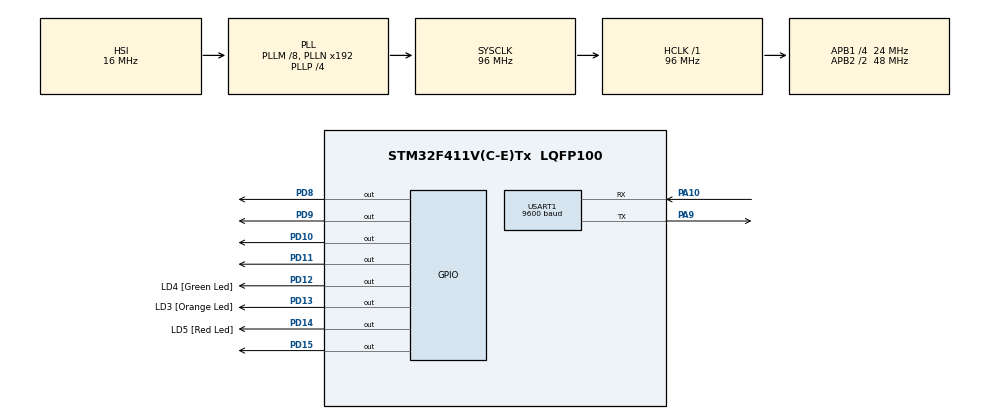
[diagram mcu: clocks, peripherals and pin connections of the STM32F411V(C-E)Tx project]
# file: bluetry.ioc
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Mcu.Family=STM32F4
Mcu.Name=STM32F411V(C-E)Tx
Mcu.Package=LQFP100
NVIC.PriorityGroup=NVIC_PRIORITYGROUP_0
NVIC.USART1_IRQn=true\:0\:0\:false\:false\:true\:true\:true\:true
PA10.Mode=Asynchronous
PA10.Signal=USART1_RX
PA9.Mode=Asynchronous
PA9.Signal=USART1_TX
PD10.Signal=GPIO_Output
PD11.Signal=GPIO_Output
PD12.GPIO_Label=LD4 [Green Led]
PD12.GPIO_PuPd=GPIO_NOPULL
PD12.GPIO_Speed=GPIO_SPEED_FREQ_LOW
PD12.Signal=GPIO_Output
PD13.GPIO_Label=LD3 [Orange Led]
PD13.GPIO_PuPd=GPIO_NOPULL
PD13.GPIO_Speed=GPIO_SPEED_FREQ_LOW
PD13.Signal=GPIO_Output
PD14.GPIO_Label=LD5 [Red Led]
PD14.GPIO_PuPd=GPIO_NOPULL
PD14.GPIO_Speed=GPIO_SPEED_FREQ_LOW
PD14.Signal=GPIO_Output
PD15.Signal=GPIO_Output
PD8.Signal=GPIO_Output
PD9.Signal=GPIO_Output
PH0\ -\ OSC_IN.Mode=HSE-External-Oscillator
PH0\ -\ OSC_IN.Signal=RCC_OSC_IN
PH1\ -\ OSC_OUT.Mode=HSE-External-Oscillator
PH1\ -\ OSC_OUT.Signal=RCC_OSC_OUT
ProjectManager.HeapSize=0x200
ProjectManager.StackSize=0x400
ProjectManager.TargetToolchain=STM32CubeIDE
RCC.48MHZClocksFreq_Value=48000000
RCC.AHBFreq_Value=96000000
RCC.APB1CLKDivider=RCC_HCLK_DIV4
RCC.APB1Freq_Value=24000000
RCC.APB1TimFreq_Value=48000000
RCC.APB2CLKDivider=RCC_HCLK_DIV2
RCC.APB2Freq_Value=48000000
RCC.APB2TimFreq_Value=96000000
RCC.CortexFreq_Value=96000000
RCC.HCLKFreq_Value=96000000
RCC.HSE_VALUE=8000000
RCC.HSI_VALUE=16000000
RCC.LSE_VALUE=32768
RCC.PLLI2SM=5
RCC.PLLI2SN=200
RCC.PLLM=8
RCC.PLLP=RCC_PLLP_DIV4
RCC.PLLQ=8
RCC.SYSCLKFreq_VALUE=96000000
RCC.SYSCLKSource=RCC_SYSCLKSOURCE_PLLCLK
RCC.VCOOutputFreq_Value=384000000
USART1.BaudRate=9600
USART1.VirtualMode=VM_ASYNC
board=STM32F411E-DISCO

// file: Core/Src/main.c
/* USER CODE BEGIN Header */
/**
  ******************************************************************************
  * @file           : main.c
  * @brief          : Main program body
  * @Author         : Mrunal Yadav
  * @course			: Embedded System Design (Spring'23)
  * @instructor     : Prof. Linden McClure
  * @Date           : April 20th, 2023
  * @Assignment     : Final Project
  * @References      : https://deepbluembedded.com/stm32-hc-05-bluetooth-module-
  *                   examples/
                      https://www.sparkfun.com/products/14450?gclid=Cj0K
                      CQjwu-KiBhCsARIsAPztUF0lVSoxmHxAfibLobLU8Tlg6KhSIymu
                      OcoUYP3htjYJgpOzzITdur0aAn_4EALw_wcB
  *
  ******************************************************************************
  * @attention
  *
  * Copyright (c) 2023 STMicroelectronics.
  * All rights reserved.
  *
  * This software is licensed under terms that can be found in the LICENSE file
  * in the root directory of this software component.
  * If no LICENSE file comes with this software, it is provided AS-IS.
  *
  ******************************************************************************
  */
/* USER CODE END Header */
#include "main.h"

/* USER CODE BEGIN PD */
uint8_t rxData;
/* USER CODE END PD */

UART_HandleTypeDef huart1;

void SystemClock_Config(void);
static void MX_GPIO_Init(void);
static void MX_USART1_UART_Init(void);

int main(void)
{

  /* MCU Configuration--------------------------------------------------------*/

  /* Reset of all peripherals, Initializes the Flash interface and the Systick. */
  HAL_Init();

  /* Configure the system clock */
  SystemClock_Config();

  /* Initialize all configured peripherals */
  MX_GPIO_Init();
  MX_USART1_UART_Init();
  /* USER CODE BEGIN 2 */
  HAL_UART_Receive_IT(&huart1,&rxData,1);

  /* USER CODE END 2 */

  /* Infinite loop */
  while (1)
  {

  }
}

void SystemClock_Config(void)
{
  RCC_OscInitTypeDef RCC_OscInitStruct = {0};
  RCC_ClkInitTypeDef RCC_ClkInitStruct = {0};

  /** Configure the main internal regulator output voltage
  */
  __HAL_RCC_PWR_CLK_ENABLE();
  __HAL_PWR_VOLTAGESCALING_CONFIG(PWR_REGULATOR_VOLTAGE_SCALE1);

  /** Initializes the RCC Oscillators according to the specified parameters
  * in the RCC_OscInitTypeDef structure.
  */
  RCC_OscInitStruct.OscillatorType = RCC_OSCILLATORTYPE_HSI;
  RCC_OscInitStruct.HSIState = RCC_HSI_ON;
  RCC_OscInitStruct.HSICalibrationValue = RCC_HSICALIBRATION_DEFAULT;
  RCC_OscInitStruct.PLL.PLLState = RCC_PLL_ON;
  RCC_OscInitStruct.PLL.PLLSource = RCC_PLLSOURCE_HSI;
  RCC_OscInitStruct.PLL.PLLM = 8;
  RCC_OscInitStruct.PLL.PLLN = 192;
  RCC_OscInitStruct.PLL.PLLP = RCC_PLLP_DIV4;
  RCC_OscInitStruct.PLL.PLLQ = 8;
  if (HAL_RCC_OscConfig(&RCC_OscInitStruct) != HAL_OK)
  {
    Error_Handler();
  }

  /** Initializes the CPU, AHB and APB buses clocks
  */
  RCC_ClkInitStruct.ClockType = RCC_CLOCKTYPE_HCLK|RCC_CLOCKTYPE_SYSCLK
                              |RCC_CLOCKTYPE_PCLK1|RCC_CLOCKTYPE_PCLK2;
  RCC_ClkInitStruct.SYSCLKSource = RCC_SYSCLKSOURCE_PLLCLK;
  RCC_ClkInitStruct.AHBCLKDivider = RCC_SYSCLK_DIV1;
  RCC_ClkInitStruct.APB1CLKDivider = RCC_HCLK_DIV4;
  RCC_ClkInitStruct.APB2CLKDivider = RCC_HCLK_DIV2;

  if (HAL_RCC_ClockConfig(&RCC_ClkInitStruct, FLASH_LATENCY_3) != HAL_OK)
  {
    Error_Handler();
  }
}

static void MX_USART1_UART_Init(void)
{

  huart1.Instance = USART1;
  huart1.Init.BaudRate = 9600;
  huart1.Init.WordLength = UART_WORDLENGTH_8B;
  huart1.Init.StopBits = UART_STOPBITS_1;
  huart1.Init.Parity = UART_PARITY_NONE;
  huart1.Init.Mode = UART_MODE_TX_RX;
  huart1.Init.HwFlowCtl = UART_HWCONTROL_NONE;
  huart1.Init.OverSampling = UART_OVERSAMPLING_16;
  if (HAL_UART_Init(&huart1) != HAL_OK)
  {
    Error_Handler();
  }

}

static void MX_GPIO_Init(void)
{
  GPIO_InitTypeDef GPIO_InitStruct = {0};

  /* GPIO Ports Clock Enable */
  __HAL_RCC_GPIOH_CLK_ENABLE();
  __HAL_RCC_GPIOD_CLK_ENABLE();
  __HAL_RCC_GPIOA_CLK_ENABLE();

  /*Configure GPIO pin Output Level */
  HAL_GPIO_WritePin(GPIOD, GPIO_PIN_9|GPIO_PIN_10|GPIO_PIN_11|LD4_Pin
                          |LD3_Pin|LD5_Pin|GPIO_PIN_15, GPIO_PIN_RESET);

  /*Configure GPIO pins : PD9 PD10 PD11 LD4_Pin
                           LD3_Pin LD5_Pin PD15 */
  GPIO_InitStruct.Pin = GPIO_PIN_9|GPIO_PIN_10|GPIO_PIN_11|LD4_Pin
                          |LD3_Pin|LD5_Pin|GPIO_PIN_15;
  GPIO_InitStruct.Mode = GPIO_MODE_OUTPUT_PP;
  GPIO_InitStruct.Pull = GPIO_NOPULL;
  GPIO_InitStruct.Speed = GPIO_SPEED_FREQ_LOW;
  HAL_GPIO_Init(GPIOD, &GPIO_InitStruct);

}

/* USER CODE BEGIN 4 */
void HAL_UART_RxCpltCallback(UART_HandleTypeDef *huart)
{
  if(huart->Instance==USART1)
  {
    if(rxData==79) // Ascii value of 'O' is 79 state forward
    {
    	HAL_GPIO_WritePin(GPIOD, GPIO_PIN_12, GPIO_PIN_SET);//ENABLE 1
    	HAL_GPIO_WritePin(GPIOD, GPIO_PIN_13, GPIO_PIN_RESET);//ENABLE 1
    	HAL_GPIO_WritePin(GPIOD, GPIO_PIN_14, GPIO_PIN_RESET);//INPUT 1
    	HAL_GPIO_WritePin(GPIOD, GPIO_PIN_15, GPIO_PIN_RESET);//INPUT 2

    	HAL_GPIO_WritePin(GPIOD, GPIO_PIN_8, GPIO_PIN_SET);//INPUT 1 MOTOR1
    	HAL_GPIO_WritePin(GPIOD, GPIO_PIN_9, GPIO_PIN_RESET);//INPUT 2 MOTOR2

    	HAL_GPIO_WritePin(GPIOD, GPIO_PIN_10, GPIO_PIN_SET);//INPUT 1 MOTOR2
    	HAL_GPIO_WritePin(GPIOD, GPIO_PIN_11, GPIO_PIN_RESET);//INPUT 2 MOTOR2

    }
    else if (rxData==80) // Ascii value of 'P' is 80 STATE BACKWARD
    {
    	HAL_GPIO_WritePin(GPIOD, GPIO_PIN_12, GPIO_PIN_RESET);//ENABLE 1
        HAL_GPIO_WritePin(GPIOD, GPIO_PIN_13, GPIO_PIN_SET);//ENABLE 1
    	HAL_GPIO_WritePin(GPIOD, GPIO_PIN_14, GPIO_PIN_RESET);//INPUT 1
    	HAL_GPIO_WritePin(GPIOD, GPIO_PIN_15, GPIO_PIN_RESET);//INPUT 2

    	HAL_GPIO_WritePin(GPIOD, GPIO_PIN_8, GPIO_PIN_RESET);//INPUT 1 MOTOR1
    	HAL_GPIO_WritePin(GPIOD, GPIO_PIN_9, GPIO_PIN_SET);//INPUT 2 MOTOR2

    	HAL_GPIO_WritePin(GPIOD, GPIO_PIN_10, GPIO_PIN_RESET);//INPUT 1 MOTOR2
    	HAL_GPIO_WritePin(GPIOD, GPIO_PIN_11, GPIO_PIN_SET);//INPUT 2 MOTOR2

    }
    else if (rxData==81) // Ascii value of 'Q' is 81 STATE  LEFT
    {
    	HAL_GPIO_WritePin(GPIOD, GPIO_PIN_12, GPIO_PIN_RESET);//ENABLE 1
    	HAL_GPIO_WritePin(GPIOD, GPIO_PIN_13, GPIO_PIN_RESET);//ENABLE 1
    	HAL_GPIO_WritePin(GPIOD, GPIO_PIN_14, GPIO_PIN_SET);//INPUT 1
    	HAL_GPIO_WritePin(GPIOD, GPIO_PIN_15, GPIO_PIN_RESET);//INPUT 2

    	HAL_GPIO_WritePin(GPIOD, GPIO_PIN_8, GPIO_PIN_RESET);//INPUT 1 MOTOR1
    	HAL_GPIO_WritePin(GPIOD, GPIO_PIN_9, GPIO_PIN_SET);//INPUT 2 MOTOR2

    	HAL_GPIO_WritePin(GPIOD, GPIO_PIN_10, GPIO_PIN_RESET);//INPUT 1 MOTOR2
    	HAL_GPIO_WritePin(GPIOD, GPIO_PIN_11, GPIO_PIN_RESET);//INPUT 2 MOTOR2

    }
    else if (rxData==82) // Ascii value of 'R' is 81 STATE  RIGHT
    {
        HAL_GPIO_WritePin(GPIOD, GPIO_PIN_12, GPIO_PIN_RESET);//ENABLE 1
        HAL_GPIO_WritePin(GPIOD, GPIO_PIN_13, GPIO_PIN_RESET);//ENABLE 1
        HAL_GPIO_WritePin(GPIOD, GPIO_PIN_14, GPIO_PIN_RESET);//INPUT 1
        HAL_GPIO_WritePin(GPIOD, GPIO_PIN_15, GPIO_PIN_SET);//INPUT 2

        HAL_GPIO_WritePin(GPIOD, GPIO_PIN_8, GPIO_PIN_RESET);//INPUT 1 MOTOR1
        HAL_GPIO_WritePin(GPIOD, GPIO_PIN_9, GPIO_PIN_RESET);//INPUT 2 MOTOR2

        HAL_GPIO_WritePin(GPIOD, GPIO_PIN_10, GPIO_PIN_SET);//INPUT 1 MOTOR2
        HAL_GPIO_WritePin(GPIOD, GPIO_PIN_11, GPIO_PIN_RESET);//INPUT 2 MOTOR2

     }
    else if (rxData==83) // Ascii value of S' is 81 STATE  OFF
    {
        HAL_GPIO_WritePin(GPIOD, GPIO_PIN_12, GPIO_PIN_RESET);//ENABLE 1
        HAL_GPIO_WritePin(GPIOD, GPIO_PIN_13, GPIO_PIN_RESET);//ENABLE 1
        HAL_GPIO_WritePin(GPIOD, GPIO_PIN_14, GPIO_PIN_RESET);//INPUT 1
        HAL_GPIO_WritePin(GPIOD, GPIO_PIN_15, GPIO_PIN_RESET);//INPUT 2

        HAL_GPIO_WritePin(GPIOD, GPIO_PIN_8, GPIO_PIN_RESET);//INPUT 1 MOTOR1
        HAL_GPIO_WritePin(GPIOD, GPIO_PIN_9, GPIO_PIN_RESET);//INPUT 2 MOTOR2

        HAL_GPIO_WritePin(GPIOD, GPIO_PIN_10, GPIO_PIN_RESET);//INPUT 1 MOTOR2
        HAL_GPIO_WritePin(GPIOD, GPIO_PIN_11, GPIO_PIN_RESET);//INPUT 2 MOTOR2

    }
    HAL_UART_Receive_IT(&huart1,&rxData,1); // Enabling interrupt receive again
  }
}
/* USER CODE END 4 */

void Error_Handler(void)
{
  __disable_irq();
  while (1)
  {
  }
}
